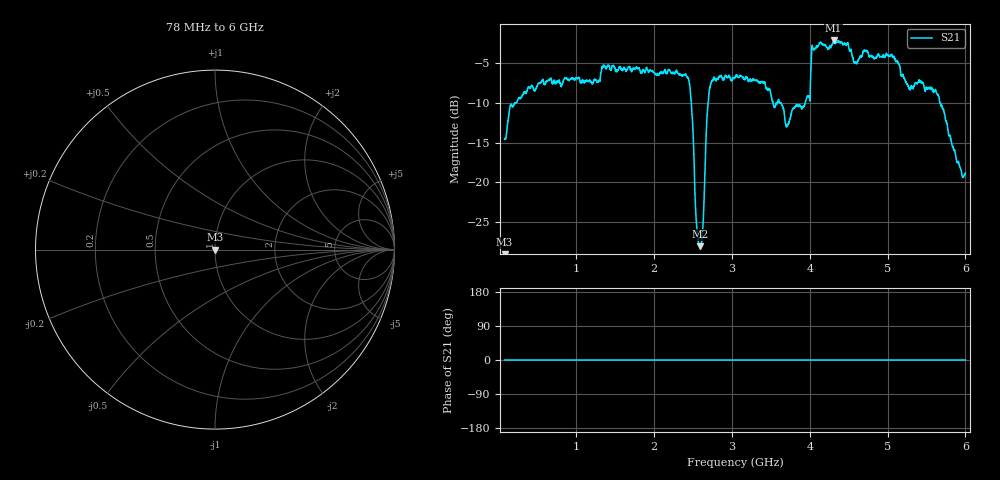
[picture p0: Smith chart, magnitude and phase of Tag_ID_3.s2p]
!	Parâmetros S - Tag_ID_3
#	Hz	S	MA	R	50
!	Freq	magS11	angS11	magS21	angS21	magS12	angS12	magS22	angS22
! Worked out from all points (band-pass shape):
!   5923 points, 78 MHz to 6 GHz, reference 50 ohm
!   highest |S21| = -2.14 dB at 4.306 GHz (marker M1); lowest = -28.0 dB at 2.59 GHz (marker M2)
!   |S21| within 3 dB of the highest: 4.018 GHz to 5.146 GHz (1.128 GHz wide, 24.6 % of centre)
!   lowest |S11| = - dB at 78 MHz (marker M3), VSWR 1.00, Z = 50 + j0 ohm
!   |S11| at or under -10 dB: start of sweep to end of sweep
!   S12 and S22 are empty: the file has one direction only
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7.8e7  0 0.0  0.1875 0.0  0 0.0  0 0.0
4.01e8  0 0.0  0.3901 0.0  0 0.0  0 0.0
1.065e9  0 0.0  0.4259 0.0  0 0.0  0 0.0
2.052e9  0 0.0  0.4769 0.0  0 0.0  0 0.0
2.436e9  0 0.0  0.4559 0.0  0 0.0  0 0.0
2.482e9  0 0.0  0.2922 0.0  0 0.0  0 0.0
2.549e9  0 0.0  0.05124 0.0  0 0.0  0 0.0
2.59e9  0 0.0  0.03976 0.0  0 0.0  0 0.0
2.62e9  0 0.0  0.0481 0.0  0 0.0  0 0.0
2.685e9  0 0.0  0.2795 0.0  0 0.0  0 0.0
2.725e9  0 0.0  0.4106 0.0  0 0.0  0 0.0
3.039e9  0 0.0  0.4562 0.0  0 0.0  0 0.0
3.402e9  0 0.0  0.422 0.0  0 0.0  0 0.0
3.711e9  0 0.0  0.2294 0.0  0 0.0  0 0.0
3.978e9  0 0.0  0.3463 0.0  0 0.0  0 0.0
4.026e9  0 0.0  0.6927 0.0  0 0.0  0 0.0
4.306e9  0 0.0  0.7813 0.0  0 0.0  0 0.0
4.589e9  0 0.0  0.5724 0.0  0 0.0  0 0.0
5.013e9  0 0.0  0.6199 0.0  0 0.0  0 0.0
5.268e9  0 0.0  0.3985 0.0  0 0.0  0 0.0
5.632e9  0 0.0  0.3618 0.0  0 0.0  0 0.0
6e9  0 0.0  0.1147 0.0  0 0.0  0 0.0
